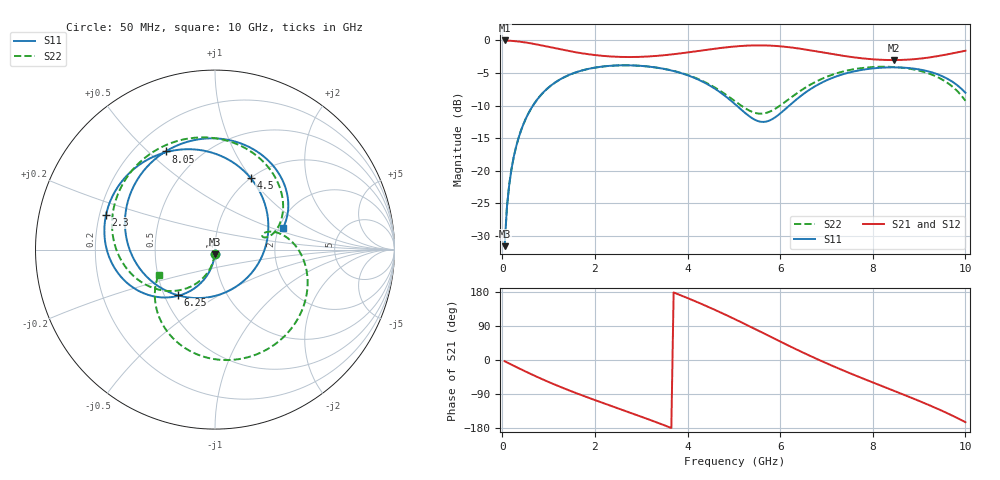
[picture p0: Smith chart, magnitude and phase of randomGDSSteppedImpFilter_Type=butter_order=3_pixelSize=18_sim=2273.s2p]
! freq	dB(S11)	phase(S11)	dB(S12)	phase(S12)
!  dB(S21)	phase(S21)	dB(S22)	phase(S22)
!S-par simulation data
#  GHz  S  DB  R 50
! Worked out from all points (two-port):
!   200 points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, 50 MHz to 10 GHz, reference 50 ohm
!   highest |S21| = -0.01 dB at 50 MHz (marker M1); lowest = -3.0 dB at 8.45 GHz (marker M2)
!   |S21| within 3 dB of the highest: start of sweep to 8.305 GHz; 8.571 GHz to end of sweep
!   lowest |S11| = -31.6 dB at 50 MHz (marker M3), VSWR 1.05, Z = 49.8 - j2.62 ohm
!   |S11| at or under -10 dB: start of sweep to 663.2 MHz; 5.059 GHz to 6.199 GHz (1.14 GHz wide, 20.3 % of centre)
!   |S22| runs from -31.6 to -3.8 dB; largest |S21 - S12| = 0
!   S11 on the Smith chart (normalised r, x): 50 MHz: 1.00, -0.05; 2.3 GHz: 0.23, +0.15; 4.5 GHz: 1.00, +1.00; 6.25 GHz: 0.59, -0.33; 8.05 GHz: 0.32, +0.57; 10 GHz: 2.10, +0.60
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0.05  -31.60 -93.0  -0.01 -3.1  -0.01 -3.1  -31.61 -93.5
0.1  -25.61 -96.0  -0.02 -6.2  -0.02 -6.2  -25.62 -97.0
0.2  -19.69 -101.7  -0.07 -12.3  -0.07 -12.3  -19.69 -103.7
0.5  -12.14 -118.3  -0.32 -30.2  -0.32 -30.2  -12.15 -123.3
1.05  -6.93 -145.9  -1.07 -60.6  -1.07 -60.6  -6.94 -156.4
1.75  -4.56 -176.2  -2.01 -94.5  -2.01 -94.5  -4.57 166.0
2.3  -3.92 162.4  -2.45 -118.9  -2.45 -118.9  -3.92 138.8
2.85  -3.85 141.3  -2.55 -142.9  -2.55 -142.9  -3.85 112.1
3.4  -4.26 119.2  -2.34 -167.7  -2.34 -167.7  -4.25 85.3
4  -5.35 91.7  -1.85 163.5  -1.85 163.5  -5.30 56.0
4.5  -7.02 63.6  -1.36 137.3  -1.36 137.3  -6.87 33.1
5.05  -9.95 21.0  -0.91 106.1  -0.91 106.1  -9.47 15.5
5.6  -12.51 -47.2  -0.76 73.1  -0.76 73.1  -11.25 16.2
6.25  -9.68 -129.1  -1.09 33.9  -1.09 33.9  -8.70 14.4
6.7  -7.28 -166.0  -1.58 7.9  -1.58 7.9  -6.61 -0.6
7.35  -5.21 153.5  -2.35 -26.9  -2.35 -26.9  -4.80 -28.7
8.05  -4.26 116.7  -2.92 -61.6  -2.92 -61.6  -4.07 -59.9
8.35  -4.14 101.7  -3.01 -76.1  -3.01 -76.1  -4.05 -73.1
8.45  -4.14 96.8  -3.02 -80.9  -3.02 -80.9  -4.09 -77.5
8.85  -4.30 76.9  -2.91 -100.4  -2.91 -100.4  -4.42 -95.4
9.3  -4.96 54.0  -2.53 -123.4  -2.53 -123.4  -5.33 -116.7
10  -8.04 17.5  -1.59 -164.1  -1.59 -164.1  -9.27 -156.0
